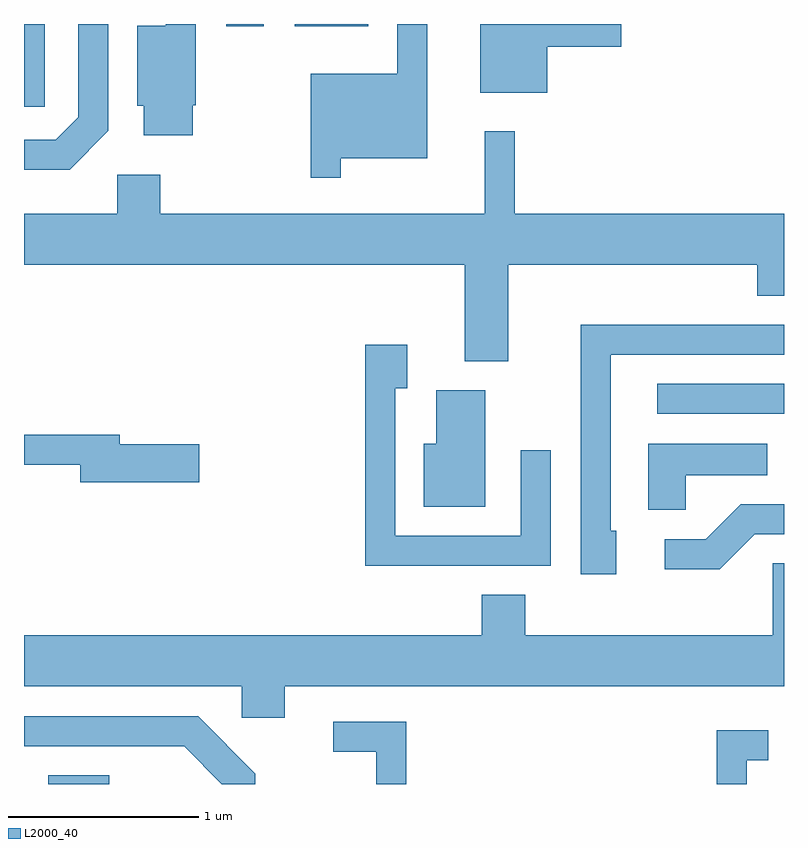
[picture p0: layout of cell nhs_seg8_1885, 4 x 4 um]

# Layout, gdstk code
import gdstk
lib = gdstk.Library(unit=1e-6, precision=1e-09)
def R(c, l, rs):  # rectangles x0, y0, x1, y1
    for r in rs: c.add(gdstk.rectangle(r[:2], r[2:], *l))
def P(c, l, *ps):  # polygons
    for p in ps: c.add(gdstk.Polygon(p, *l))
L2000_40 = (2000, 40)

nhs_seg8_1885 = lib.new_cell('nhs_seg8_1885')
R(nhs_seg8_1885, L2000_40, [(241.738,1840.342,242.059,1840.389), (244.943,1842.291,245.611,1842.449), (241.611,1843.906,241.719,1844.342), (242.676,1844.331,242.874,1844.342), (243.036,1844.331,243.424,1844.342)])
P(nhs_seg8_1885, L2000_40, [(242.054,1843.779),(242.054,1844.342),(241.896,1844.342),(241.896,1843.852),(241.779,1843.734),(241.611,1843.734),(241.611,1843.576),(241.852,1843.576)],
  [(244.364,1844.221),(244.754,1844.221),(244.754,1844.342),(244.011,1844.342),(244.011,1843.981),(244.364,1843.981)],
  [(243.279,1843.636),(243.734,1843.636),(243.734,1844.342),(243.576,1844.342),(243.576,1844.079),(243.121,1844.079),(243.121,1843.533),(243.279,1843.533)],
  [(242.499,1843.915),(242.514,1843.915),(242.514,1844.342),(242.356,1844.342),(242.356,1844.334),(242.206,1844.334),(242.206,1843.911),(242.241,1843.911),(242.241,1843.756),(242.499,1843.756)],
  [(244.159,1843.076),(245.471,1843.076),(245.471,1842.911),(245.611,1842.911),(245.611,1843.344),(244.194,1843.344),(244.194,1843.778),(244.036,1843.778),(244.036,1843.344),(242.329,1843.344),(242.329,1843.549),(242.101,1843.549),(242.101,1843.344),(241.611,1843.344),(241.611,1843.076),(243.931,1843.076),(243.931,1842.566),(244.159,1842.566)],
  [(244.729,1841.674),(244.699,1841.674),(244.699,1842.601),(245.611,1842.601),(245.611,1842.759),(244.541,1842.759),(244.541,1841.446),(244.729,1841.446)],
  [(244.384,1842.098),(244.226,1842.098),(244.226,1841.649),(243.564,1841.649),(243.564,1842.426),(243.629,1842.426),(243.629,1842.654),(243.406,1842.654),(243.406,1841.491),(244.384,1841.491)],
  [(244.039,1842.414),(243.781,1842.414),(243.781,1842.134),(243.716,1842.134),(243.716,1841.801),(244.039,1841.801)],
  [(242.534,1842.129),(242.114,1842.129),(242.114,1842.179),(241.611,1842.179),(241.611,1842.021),(241.906,1842.021),(241.906,1841.931),(242.534,1841.931)],
  [(245.094,1841.966),(245.523,1841.966),(245.523,1842.134),(244.896,1842.134),(244.896,1841.786),(245.094,1841.786)],
  [(245.457,1841.656),(245.611,1841.656),(245.611,1841.814),(245.384,1841.814),(245.199,1841.629),(244.983,1841.629),(244.983,1841.471),(245.272,1841.471)],
  [(242.984,1840.856),(245.611,1840.856),(245.611,1841.504),(245.551,1841.504),(245.551,1841.124),(244.249,1841.124),(244.249,1841.339),(244.021,1841.339),(244.021,1841.124),(241.611,1841.124),(241.611,1840.856),(242.756,1840.856),(242.756,1840.691),(242.984,1840.691)],
  [(242.829,1840.397),(242.527,1840.699),(241.611,1840.699),(241.611,1840.541),(242.454,1840.541),(242.653,1840.342),(242.829,1840.342)],
  [(243.624,1840.669),(243.238,1840.669),(243.238,1840.511),(243.466,1840.511),(243.466,1840.342),(243.624,1840.342)],
  [(245.414,1840.466),(245.528,1840.466),(245.528,1840.624),(245.256,1840.624),(245.256,1840.342),(245.414,1840.342)])

lib.write_gds('nhs_seg8_1885.gds')
